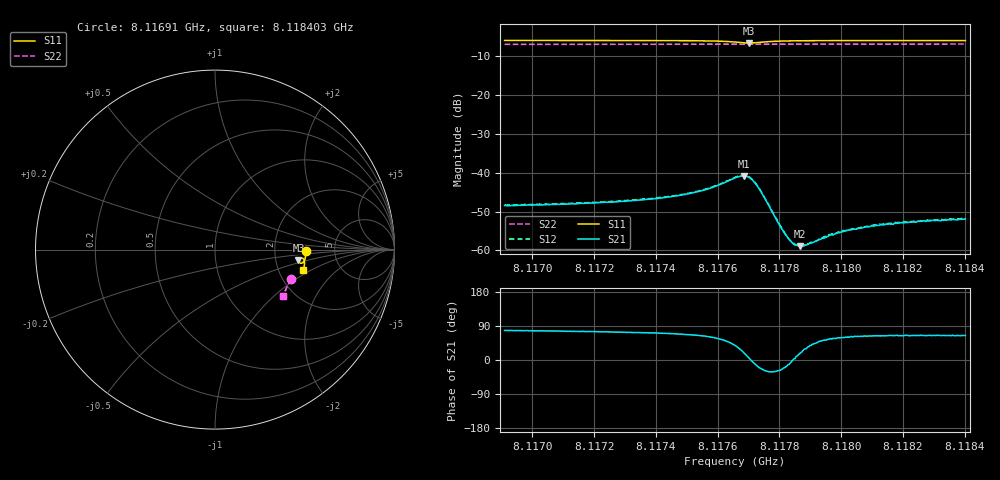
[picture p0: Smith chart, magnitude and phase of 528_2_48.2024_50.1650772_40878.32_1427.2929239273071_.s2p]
#  HZ  S  RI  R  50.00
! Rohde & Schwarz Vector Network Analyzer
! Rohde-Schwarz,ZNB20-2Port,1311601062101988,3.16
! Created: UTC 3/20/2024, 11:59:45 AM
! freq[Hz]  re:S11  im:S11  re:S21  im:S21  re:S12  im:S12  re:S22  im:S22
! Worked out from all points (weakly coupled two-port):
!   401 points, 8.11691 GHz to 8.118403 GHz, reference 50 ohm
!   highest |S21| = -40.79 dB at 8.117686 GHz (marker M1); lowest = -58.9 dB at 8.117865 GHz (marker M2)
!   lowest |S11| = -6.6 dB at 8.117701 GHz (marker M3), VSWR 2.77, Z = 135 - j20.7 ohm
!   |S11| at or under -10 dB: nowhere
!   |S22| runs from -6.9 to -6.8 dB; largest |S21 - S12| = 0.00025
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8.1169101e9  0.5066 -0.00871  0.000783 0.0037  0.000852 0.00379  0.4208 -0.1626
8.1171601e9  0.5054 -0.0286  0.00102 0.00392  0.00108 0.00399  0.4149 -0.1789
8.1174101e9  0.5024 -0.0498  0.00157 0.00447  0.00163 0.00452  0.4082 -0.1952
8.1175407e9  0.4978 -0.0636  0.00248 0.00521  0.00257 0.00532  0.4042 -0.2037
8.1175892e9  0.4935 -0.07  0.00342 0.00567  0.00353 0.00578  0.4027 -0.2069
8.1176564e9  0.4777 -0.0759  0.00672 0.00534  0.00688 0.00541  0.4001 -0.2109
8.1176862e9  0.4669 -0.0681  0.00865 0.0029  0.00885 0.00291  0.3988 -0.2122
8.1177012e9  0.4652 -0.06  0.0087 0.000881  0.00888 0.00086  0.3984 -0.2128
8.1177161e9  0.4681 -0.0523  0.00774 -0.000934  0.00792 -0.000987  0.3979 -0.2132
8.1177348e9  0.476 -0.0468  0.00584 -0.00212  0.00595 -0.00215  0.398 -0.2141
8.1177982e9  0.494 -0.0537  0.00196 -0.00103  0.00198 -0.00108  0.3968 -0.2187
8.1178206e9  0.4961 -0.0575  0.0015 -0.000487  0.00153 -0.000529  0.3962 -0.2202
8.117843e9  0.4975 -0.0611  0.00124 -2.84e-05  0.00127 -5.09e-05  0.3957 -0.2216
8.1178653e9  0.4982 -0.0641  0.00109 0.000324  0.00112 0.000339  0.3948 -0.2231
8.1178803e9  0.4984 -0.0661  0.00101 0.000538  0.00105 0.000534  0.3944 -0.224
8.1179064e9  0.4988 -0.0694  0.000942 0.000823  0.000981 0.000822  0.3936 -0.2258
8.1179698e9  0.4987 -0.0762  0.000906 0.0013  0.000957 0.00133  0.3914 -0.2298
8.1180183e9  0.4982 -0.0808  0.000899 0.00156  0.00093 0.00158  0.3899 -0.2328
8.1181004e9  0.4974 -0.088  0.000919 0.00186  0.000944 0.00187  0.3871 -0.2379
8.1181564e9  0.4967 -0.0928  0.000954 0.002  0.000991 0.00203  0.3851 -0.2414
8.118287e9  0.4947 -0.1033  0.00101 0.00219  0.00104 0.00223  0.3806 -0.2492
8.1184027e9  0.4927 -0.1123  0.0011 0.0023  0.00114 0.0023  0.3762 -0.2562
